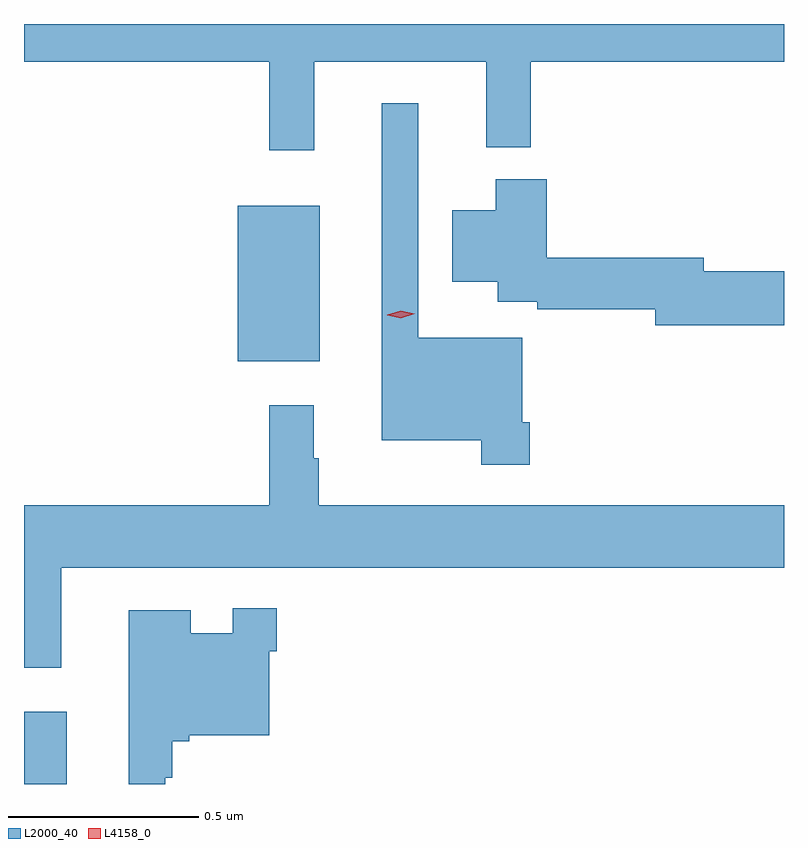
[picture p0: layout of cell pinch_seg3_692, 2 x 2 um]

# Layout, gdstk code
import gdstk
lib = gdstk.Library(unit=1e-6, precision=1e-09)
def R(c, l, rs):  # rectangles x0, y0, x1, y1
    for r in rs: c.add(gdstk.rectangle(r[:2], r[2:], *l))
def P(c, l, *ps):  # polygons
    for p in ps: c.add(gdstk.Polygon(p, *l))
L2000_40 = (2000, 40)
L4158_0 = (4158, 0)

pinch_seg3_692 = lib.new_cell('pinch_seg3_692')
R(pinch_seg3_692, L2000_40, [(1132.047,668.379,1132.159,668.569), (1132.61,669.491,1132.825,669.901)])
P(pinch_seg3_692, L2000_40, [(1132.811,670.28),(1133.264,670.28),(1133.264,670.055),(1133.381,670.055),(1133.381,670.28),(1134.047,670.28),(1134.047,670.379),(1132.047,670.379),(1132.047,670.28),(1132.693,670.28),(1132.693,670.047),(1132.811,670.047)],
  [(1133.378,669.331),(1133.358,669.331),(1133.358,669.553),(1133.085,669.553),(1133.085,670.171),(1132.988,670.171),(1132.988,669.284),(1133.25,669.284),(1133.25,669.219),(1133.378,669.219)],
  [(1134.047,669.728),(1133.836,669.728),(1133.836,669.764),(1133.423,669.764),(1133.423,669.97),(1133.288,669.97),(1133.288,669.889),(1133.174,669.889),(1133.174,669.701),(1133.294,669.701),(1133.294,669.648),(1133.398,669.648),(1133.398,669.628),(1133.708,669.628),(1133.708,669.586),(1134.047,669.586)],
  [(1132.145,668.948),(1134.047,668.948),(1134.047,669.112),(1132.822,669.112),(1132.822,669.236),(1132.81,669.236),(1132.81,669.376),(1132.693,669.376),(1132.693,669.112),(1132.047,669.112),(1132.047,668.685),(1132.145,668.685)],
  [(1132.419,668.396),(1132.437,668.396),(1132.437,668.492),(1132.482,668.492),(1132.482,668.507),(1132.692,668.507),(1132.692,668.729),(1132.712,668.729),(1132.712,668.842),(1132.596,668.842),(1132.596,668.776),(1132.486,668.776),(1132.486,668.836),(1132.322,668.836),(1132.322,668.379),(1132.419,668.379)])
P(pinch_seg3_692, L4158_0, [(1133.039,669.605),(1133.003,669.613),(1133.003,669.614),(1133.003,669.614),(1133.038,669.625),(1133.075,669.617),(1133.075,669.616),(1133.075,669.616)])

lib.write_gds('pinch_seg3_692.gds')
